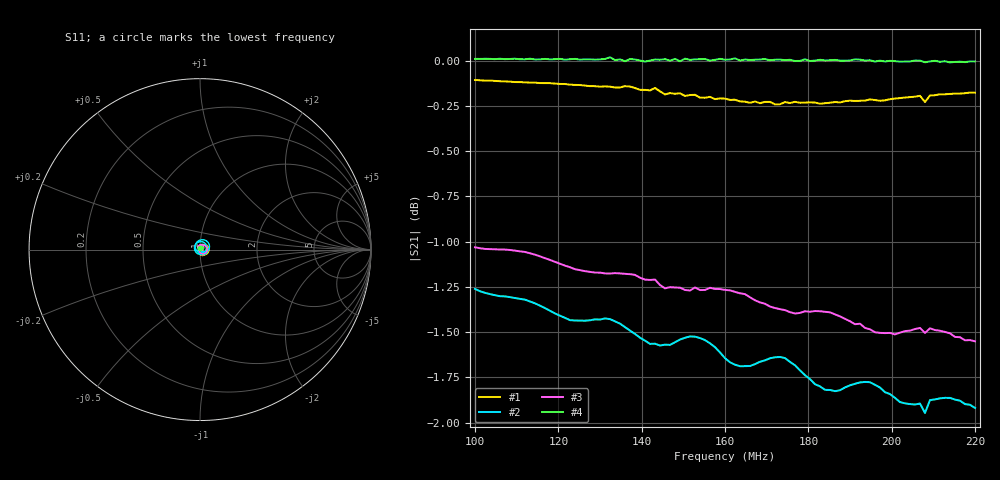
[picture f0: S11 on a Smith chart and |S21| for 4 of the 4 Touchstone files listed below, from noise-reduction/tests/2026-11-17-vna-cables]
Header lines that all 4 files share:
# HZ S RI R 50
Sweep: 100 MHz to 220 MHz
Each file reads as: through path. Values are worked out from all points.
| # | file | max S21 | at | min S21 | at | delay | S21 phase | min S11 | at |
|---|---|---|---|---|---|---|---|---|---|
| 1 | common_mode_choke_2026-11-17.s2p | -0.11 dB | 100 MHz | -0.2 dB | 172 MHz | 2.75 ns | -159 deg at 160 MHz | -51.1 dB | 121.6 MHz |
| 2 | common_mode_choke_and_rg316_15foot_extension_2026-11-17.s2p | -1.26 dB | 100 MHz | -1.9 dB | 208 MHz | 24.2 ns | 39 deg at 160 MHz | -64.6 dB | 100 MHz |
| 3 | rg316_15foot_extension_2026-11-17.s2p | -1.03 dB | 100 MHz | -1.6 dB | 220 MHz | 20 ns | -74 deg at 160 MHz | -64.9 dB | 139.6 MHz |
| 4 | thru_calibration_result_2026-11-17.s2p | 0.02 dB | 132.4 MHz | 0.0 dB | 214 MHz | - | -0 deg at 160 MHz | -41.6 dB | 100 MHz |
